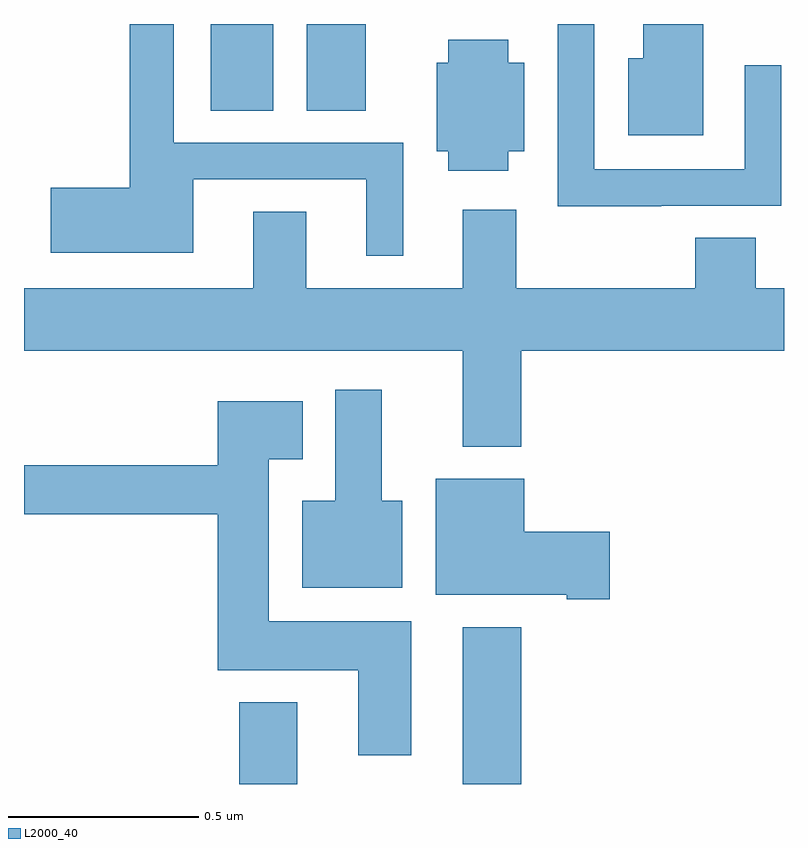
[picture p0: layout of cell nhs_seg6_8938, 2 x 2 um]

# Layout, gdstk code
import gdstk
lib = gdstk.Library(unit=1e-6, precision=1e-09)
def R(c, l, rs):  # rectangles x0, y0, x1, y1
    for r in rs: c.add(gdstk.rectangle(r[:2], r[2:], *l))
def P(c, l, *ps):  # polygons
    for p in ps: c.add(gdstk.Polygon(p, *l))
L2000_40 = (2000, 40)

nhs_seg6_8938 = lib.new_cell('nhs_seg6_8938')
R(nhs_seg6_8938, L2000_40, [(227.567,975.5,227.719,975.715), (228.155,975.5,228.308,975.913), (227.492,977.272,227.656,977.5), (227.744,977.272,227.899,977.5)])
P(nhs_seg6_8938, L2000_40, [(227.998,977.187),(227.394,977.187),(227.394,977.5),(227.278,977.5),(227.278,977.069),(227.07,977.069),(227.07,976.898),(227.446,976.898),(227.446,977.091),(227.9,977.091),(227.9,976.89),(227.998,976.89)],
  [(228.787,977.5),(228.629,977.5),(228.629,977.41),(228.59,977.41),(228.59,977.207),(228.787,977.207)],
  [(228.677,977.022),(228.993,977.022),(228.993,977.392),(228.897,977.392),(228.897,977.118),(228.501,977.118),(228.501,977.5),(228.404,977.5),(228.404,977.494),(228.405,977.494),(228.405,977.021),(228.677,977.021)],
  [(228.274,977.165),(228.316,977.165),(228.316,977.398),(228.274,977.398),(228.274,977.458),(228.116,977.458),(228.116,977.398),(228.086,977.398),(228.086,977.165),(228.116,977.165),(228.116,977.114),(228.274,977.114)],
  [(228.308,976.64),(229,976.64),(229,976.804),(228.926,976.804),(228.926,976.937),(228.766,976.937),(228.766,976.804),(228.295,976.804),(228.295,977.011),(228.155,977.011),(228.155,976.804),(227.743,976.804),(227.743,977.006),(227.603,977.006),(227.603,976.804),(227,976.804),(227,976.64),(228.155,976.64),(228.155,976.388),(228.308,976.388)],
  [(227.995,976.246),(227.941,976.246),(227.941,976.537),(227.819,976.537),(227.819,976.246),(227.732,976.246),(227.732,976.016),(227.995,976.016)],
  [(228.019,975.928),(227.644,975.928),(227.644,976.355),(227.734,976.355),(227.734,976.507),(227.51,976.507),(227.51,976.339),(227,976.339),(227,976.21),(227.51,976.21),(227.51,975.8),(227.879,975.8),(227.879,975.576),(228.019,975.576)],
  [(228.541,976.164),(228.316,976.164),(228.316,976.303),(228.083,976.303),(228.083,975.998),(228.428,975.998),(228.428,975.986),(228.541,975.986)])

lib.write_gds('nhs_seg6_8938.gds')
